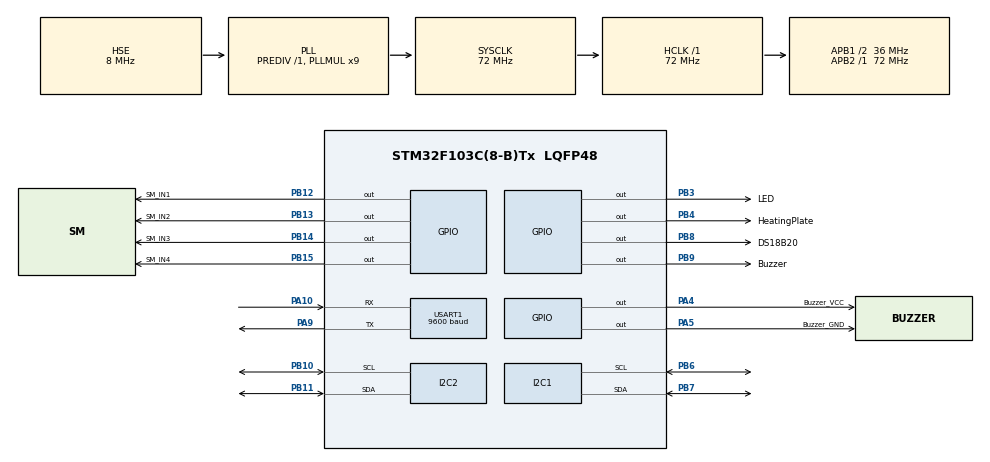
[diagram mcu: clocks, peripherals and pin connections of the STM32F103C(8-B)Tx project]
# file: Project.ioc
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Mcu.Family=STM32F1
Mcu.Name=STM32F103C(8-B)Tx
Mcu.Package=LQFP48
NVIC.PriorityGroup=NVIC_PRIORITYGROUP_4
PA10.Mode=Asynchronous
PA10.Signal=USART1_RX
PA13.Mode=Serial_Wire
PA13.Signal=SYS_JTMS-SWDIO
PA14.Mode=Serial_Wire
PA14.Signal=SYS_JTCK-SWCLK
PA4.GPIO_Label=Buzzer_VCC
PA4.GPIO_PuPd=GPIO_PULLUP
PA4.GPIO_Speed=GPIO_SPEED_FREQ_HIGH
PA4.Signal=GPIO_Output
PA5.GPIO_Label=Buzzer_GND
PA5.GPIO_PuPd=GPIO_PULLDOWN
PA5.GPIO_Speed=GPIO_SPEED_FREQ_HIGH
PA5.Signal=GPIO_Output
PA9.Mode=Asynchronous
PA9.Signal=USART1_TX
PB10.Mode=I2C
PB10.Signal=I2C2_SCL
PB11.Mode=I2C
PB11.Signal=I2C2_SDA
PB12.GPIO_Label=SM_IN1
PB12.GPIO_PuPd=GPIO_PULLDOWN
PB12.GPIO_Speed=GPIO_SPEED_FREQ_HIGH
PB12.Signal=GPIO_Output
PB13.GPIO_Label=SM_IN2
PB13.GPIO_PuPd=GPIO_PULLDOWN
PB13.GPIO_Speed=GPIO_SPEED_FREQ_HIGH
PB13.Signal=GPIO_Output
PB14.GPIO_Label=SM_IN3
PB14.GPIO_PuPd=GPIO_PULLDOWN
PB14.GPIO_Speed=GPIO_SPEED_FREQ_HIGH
PB14.Signal=GPIO_Output
PB15.GPIO_Label=SM_IN4
PB15.GPIO_PuPd=GPIO_PULLDOWN
PB15.GPIO_Speed=GPIO_SPEED_FREQ_HIGH
PB15.Signal=GPIO_Output
PB3.GPIO_Label=LED
PB3.GPIO_PuPd=GPIO_PULLDOWN
PB3.GPIO_Speed=GPIO_SPEED_FREQ_HIGH
PB3.Signal=GPIO_Output
PB4.GPIO_Label=HeatingPlate
PB4.GPIO_PuPd=GPIO_PULLDOWN
PB4.GPIO_Speed=GPIO_SPEED_FREQ_HIGH
PB4.Signal=GPIO_Output
PB6.Mode=I2C
PB6.Signal=I2C1_SCL
PB7.Mode=I2C
PB7.Signal=I2C1_SDA
PB8.GPIO_Label=DS18B20
PB8.GPIO_PuPd=GPIO_PULLUP
PB8.GPIO_Speed=GPIO_SPEED_FREQ_HIGH
PB8.Signal=GPIO_Output
PB9.GPIO_Label=Buzzer
PB9.GPIO_PuPd=GPIO_PULLDOWN
PB9.GPIO_Speed=GPIO_SPEED_FREQ_HIGH
PB9.Signal=GPIO_Output
PC14-OSC32_IN.Mode=LSE-External-Oscillator
PC14-OSC32_IN.Signal=RCC_OSC32_IN
PC15-OSC32_OUT.Mode=LSE-External-Oscillator
PC15-OSC32_OUT.Signal=RCC_OSC32_OUT
PD0-OSC_IN.Mode=HSE-External-Oscillator
PD0-OSC_IN.Signal=RCC_OSC_IN
PD1-OSC_OUT.Mode=HSE-External-Oscillator
PD1-OSC_OUT.Signal=RCC_OSC_OUT
ProjectManager.HeapSize=0x200
ProjectManager.StackSize=0x400
ProjectManager.TargetToolchain=MDK-ARM V5.32
RCC.AHBFreq_Value=72000000
RCC.APB1CLKDivider=RCC_HCLK_DIV2
RCC.APB1Freq_Value=36000000
RCC.APB1TimFreq_Value=72000000
RCC.APB2Freq_Value=72000000
RCC.APB2TimFreq_Value=72000000
RCC.HCLKFreq_Value=72000000
RCC.PLLMUL=RCC_PLL_MUL9
RCC.PLLSourceVirtual=RCC_PLLSOURCE_HSE
RCC.SYSCLKFreq_VALUE=72000000
RCC.SYSCLKSource=RCC_SYSCLKSOURCE_PLLCLK
RCC.USBFreq_Value=72000000
TIM1.Prescaler=71
USART1.BaudRate=9600
USART1.VirtualMode=VM_ASYNC
VP_TIM1_VS_ClockSourceINT.Mode=Internal
board=custom

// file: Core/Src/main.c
/* USER CODE BEGIN Header */
/**
  ******************************************************************************
  * @file           : main.c
  * @brief          : Main program body
  ******************************************************************************
  * @attention
  *
  * Copyright (c) 2023 STMicroelectronics.
  * All rights reserved.
  *
  * This software is licensed under terms that can be found in the LICENSE file
  * in the root directory of this software component.
  * If no LICENSE file comes with this software, it is provided AS-IS.
  *
  ******************************************************************************
  */
/* USER CODE END Header */
#include "main.h"
#include "i2c.h"
#include "tim.h"
#include "usart.h"
#include "gpio.h"

/* USER CODE BEGIN Includes */
#include "stdio.h"
#include "oled.h"
#include "ds18b20.h"
#include "warning.h"
#include "addheat.h"
#include "bmp280.h"
#include "motorexecution.h"
/* USER CODE END Includes */

/* USER CODE BEGIN PV */
BMP280_HandleTypedef bmp280;
float pressure, temperature, humidity;
uint16_t sizeValue;
uint8_t dataValue[256];
/* USER CODE END PV */

void SystemClock_Config(void);

int main(void)
{
  /* USER CODE BEGIN 1 */
	uint8_t x = 0;
	uint8_t y = 0;
	float temperatureValue = 0;
	float kelvinTemperatureValue = 0;
	uint8_t temperatureIntegerValue = 0;
	uint8_t temperatureDecimalValue = 0;
	uint8_t temperatureLowLimitValue = 20;//温度下限
	uint8_t temperatureHighLimitValue = 30;//温度上限
	float pressureValue = 0;
	float standardAtmosphericPressureValue = 101.325e3;
	float oxygenSolubilityValue = 0;
	uint8_t oxygenSolubilityIntegerValue = 0;
	uint8_t oxygenSolubilityDecimalValue_1 = 0;
	uint8_t oxygenSolubilityDecimalValue_2 = 0;
	uint8_t oxygenSolubilityLimitValue = 5;//溶解氧极限值
  /* USER CODE END 1 */

  /* MCU Configuration--------------------------------------------------------*/

  /* Reset of all peripherals, Initializes the Flash interface and the Systick. */
  HAL_Init();

  /* Configure the system clock */
  SystemClock_Config();

  /* Initialize all configured peripherals */
  MX_GPIO_Init();
  MX_I2C1_Init();
  MX_TIM1_Init();
  MX_USART1_UART_Init();
  MX_I2C2_Init();
  /* USER CODE BEGIN 2 */
	OLED_Init();
	OLED_Clear();
	OLED_ShowChinese(x + 16 + 16 * 0, y + 2 * 0, 0);
	OLED_ShowChinese(x + 16 + 16 * 1, y + 2 * 0, 1);
	OLED_ShowChinese(x + 16 + 16 * 2, y + 2 * 0, 2);
	OLED_ShowChinese(x + 16 + 16 * 3, y + 2 * 0, 3);
	OLED_ShowChinese(x + 16 + 16 * 4, y + 2 * 0, 4);
	OLED_ShowChinese(x + 16 + 16 * 5, y + 2 * 0, 5);
	OLED_ShowChinese(x + 16 * 0, y + 2 * 1, 6);
	OLED_ShowChinese(x + 16 * 1, y + 2 * 1, 7);
	OLED_ShowChar(x + 16 * 2 + 8 * 0, y + 2 * 1, ':', 16);
	OLED_ShowChinese(x + 16 * 0, y + 2 * 2, 8);
	OLED_ShowChinese(x + 16 * 1, y + 2 * 2, 9);
	OLED_ShowChar(x + 16 * 2 + 8 * 0, y + 2 * 2, ':', 16);
	OLED_ShowChinese(x + 16 * 0, y + 2 * 3, 10);
	OLED_ShowChinese(x + 16 * 1, y + 2 * 3, 11);
	OLED_ShowChar(x + 16 * 2 + 8 * 0, y + 2 * 3, 'C', 16);
	OLED_ShowChar(x + 16 * 2 + 8 * 1, y + 2 * 3, 's', 16);
	OLED_ShowChar(x + 16 * 2 + 8 * 2, y + 2 * 3, ':', 16);

	bmp280_init_default_params(&bmp280.params);
	bmp280.addr = BMP280_I2C_ADDRESS_0;
	bmp280.i2c = &hi2c1;
	while (!bmp280_init(&bmp280, &bmp280.params)) {
		sizeValue = sprintf((char *)dataValue, "BMP280 initialization failed\n");
		HAL_UART_Transmit(&huart1, dataValue, sizeValue, 1000);
		HAL_Delay(2000);
	}
	bool bme280p = bmp280.id == BME280_CHIP_ID;
	sizeValue = sprintf((char *)dataValue, "BMP280: found %s\n", bme280p?"BME280":"BMP280");
	HAL_UART_Transmit(&huart1, dataValue, sizeValue, 1000);
  /* USER CODE END 2 */

  /* Infinite loop */
  /* USER CODE BEGIN WHILE */
  while (1)
  {
		temperatureValue = DS18B20_GetTemperture();
		temperatureIntegerValue = (int)temperatureValue;
		temperatureDecimalValue = 10 * (temperatureValue - (int)temperatureValue);
		OLED_ShowNum(x + 16 * 2 + 8 * 1, y + 2 * 1, temperatureIntegerValue, 2, 16);
		OLED_ShowChar(x + 16 * 2 + 8 * 3, y + 2 * 1, '.', 16);
		OLED_ShowNum(x + 16 * 2 + 8 * 4, y + 2 * 1, temperatureDecimalValue, 1, 16);
		OLED_ShowChar(x + 16 * 2 + 8 * 5, y + 2 * 1, 'C', 16);

		if(temperatureValue<temperatureLowLimitValue)//温度低于20度，报警并加热
		{
			warning();
			addHeat();
		}
		else if(temperatureValue>temperatureHighLimitValue)//温度高于30度，报警
		{
			warning();
		}

		kelvinTemperatureValue = 237.15 + temperatureValue;

		while(!bmp280_read_float(&bmp280, &temperature, &pressure, &humidity))
		{
			sizeValue = sprintf((char *)dataValue, "Temperature/pressure reading failed!\n");
			HAL_UART_Transmit(&huart1, dataValue, sizeValue, 1000);
			HAL_Delay(2000);
		}
		sizeValue = sprintf((char *)dataValue,"Pressure: %.2f Pa, Temperature: %.2f C", pressure, temperature);
		HAL_UART_Transmit(&huart1, dataValue, sizeValue, 1000);
		if(bme280p)
		{
			sizeValue = sprintf((char *)dataValue,", Humidity: %.2f\n", humidity);
			HAL_UART_Transmit(&huart1, dataValue, sizeValue, 1000);
		}
		else
		{
			sizeValue = sprintf((char *)dataValue, "\n");
			HAL_UART_Transmit(&huart1, dataValue, sizeValue, 1000);
		}

		pressureValue = pressure;
		OLED_ShowNum(x + 16 * 2 + 8 * 1, y + 2 * 2, pressureValue/1000, 4, 16);
		OLED_ShowChar(x + 16 * 2 + 8 * 5, y + 2 * 2, 'k', 16);
		OLED_ShowChar(x + 16 * 2 + 8 * 6, y + 2 * 2, 'P', 16);
		OLED_ShowChar(x + 16 * 2 + 8 * 7, y + 2 * 2, 'a', 16);

		oxygenSolubilityValue = (pressure / standardAtmosphericPressureValue) * (477.8 / (temperatureValue + 32.26));
		oxygenSolubilityIntegerValue = (int)oxygenSolubilityValue;
		oxygenSolubilityDecimalValue_1 = 10 * (oxygenSolubilityValue - (int)oxygenSolubilityValue);
		oxygenSolubilityDecimalValue_2 = 10 * (10 * (oxygenSolubilityValue - (int)oxygenSolubilityValue) - (int)(10 * (oxygenSolubilityValue - (int)oxygenSolubilityValue)));
		OLED_ShowNum(x + 16 * 2 + 8 * 3, y + 2 * 3, oxygenSolubilityIntegerValue, 2, 16);
		OLED_ShowChar(x + 16 * 2 + 8 * 5, y + 2 * 3, '.', 16);
		OLED_ShowNum(x + 16 * 2 + 8 * 6, y + 2 * 3, oxygenSolubilityDecimalValue_1, 1, 16);
		OLED_ShowNum(x + 16 * 2 + 8 * 7, y + 2 * 3, oxygenSolubilityDecimalValue_2, 1, 16);
		OLED_ShowChar(x + 16 * 2 + 8 * 8, y + 2 * 3, 'm', 16);
		OLED_ShowChar(x + 16 * 2 + 8 * 9, y + 2 * 3, 'g', 16);
		OLED_ShowChar(x + 16 * 2 + 8 * 10, y + 2 * 3, '/', 16);
		OLED_ShowChar(x + 16 * 2 + 8 * 11, y + 2 * 3, 'L', 16);

		if(oxygenSolubilityValue<oxygenSolubilityLimitValue)//溶解氧低于5mg/L，步进电机转动
		{
			MotorExecution();
		}
    /* USER CODE END WHILE */

  }
}

void SystemClock_Config(void)
{
  RCC_OscInitTypeDef RCC_OscInitStruct = {0};
  RCC_ClkInitTypeDef RCC_ClkInitStruct = {0};

  /** Initializes the RCC Oscillators according to the specified parameters
  * in the RCC_OscInitTypeDef structure.
  */
  RCC_OscInitStruct.OscillatorType = RCC_OSCILLATORTYPE_HSE;
  RCC_OscInitStruct.HSEState = RCC_HSE_ON;
  RCC_OscInitStruct.HSEPredivValue = RCC_HSE_PREDIV_DIV1;
  RCC_OscInitStruct.HSIState = RCC_HSI_ON;
  RCC_OscInitStruct.PLL.PLLState = RCC_PLL_ON;
  RCC_OscInitStruct.PLL.PLLSource = RCC_PLLSOURCE_HSE;
  RCC_OscInitStruct.PLL.PLLMUL = RCC_PLL_MUL9;
  if (HAL_RCC_OscConfig(&RCC_OscInitStruct) != HAL_OK)
  {
    Error_Handler();
  }

  /** Initializes the CPU, AHB and APB buses clocks
  */
  RCC_ClkInitStruct.ClockType = RCC_CLOCKTYPE_HCLK|RCC_CLOCKTYPE_SYSCLK
                              |RCC_CLOCKTYPE_PCLK1|RCC_CLOCKTYPE_PCLK2;
  RCC_ClkInitStruct.SYSCLKSource = RCC_SYSCLKSOURCE_PLLCLK;
  RCC_ClkInitStruct.AHBCLKDivider = RCC_SYSCLK_DIV1;
  RCC_ClkInitStruct.APB1CLKDivider = RCC_HCLK_DIV2;
  RCC_ClkInitStruct.APB2CLKDivider = RCC_HCLK_DIV1;

  if (HAL_RCC_ClockConfig(&RCC_ClkInitStruct, FLASH_LATENCY_2) != HAL_OK)
  {
    Error_Handler();
  }
}

void Error_Handler(void)
{
  __disable_irq();
  while (1)
  {
  }
}
